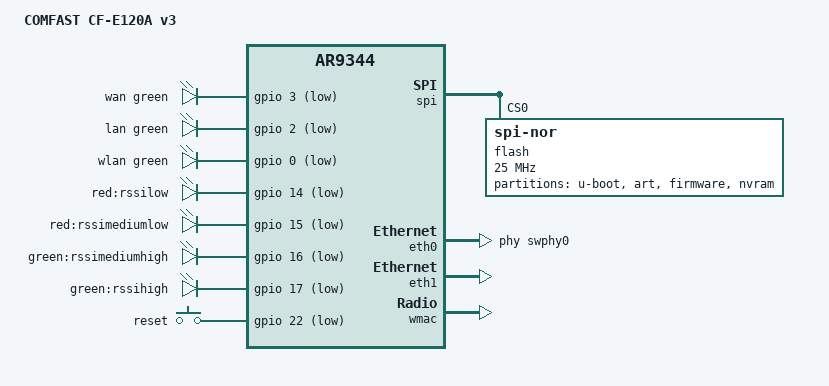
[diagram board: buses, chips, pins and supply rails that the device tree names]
// SPDX-License-Identifier: GPL-2.0-or-later OR MIT

#include "ar9344.dtsi"

#include <dt-bindings/gpio/gpio.h>
#include <dt-bindings/input/input.h>
#include <dt-bindings/leds/common.h>

/ {
	compatible = "comfast,cf-e120a-v3", "qca,ar9344";
	model = "COMFAST CF-E120A v3";

	aliases {
		led-boot = &led_rssihigh;
		led-failsafe = &led_rssihigh;
		led-upgrade = &led_rssihigh;
		label-mac-device = &eth0;
	};

	leds {
		compatible = "gpio-leds";

		pinctrl-names = "default";
		pinctrl-0 = <&led_rssimediumhigh_pin>;

		wan {
			function = LED_FUNCTION_WAN;
			color = <LED_COLOR_ID_GREEN>;
			gpios = <&gpio 3 GPIO_ACTIVE_LOW>;
		};

		lan {
			function = LED_FUNCTION_LAN;
			color = <LED_COLOR_ID_GREEN>;
			gpios = <&gpio 2 GPIO_ACTIVE_LOW>;
		};

		wlan {
			function = LED_FUNCTION_WLAN;
			color = <LED_COLOR_ID_GREEN>;
			gpios = <&gpio 0 GPIO_ACTIVE_LOW>;
			linux,default-trigger = "phy0tpt";
		};

		rssilow {
			label = "red:rssilow";
			gpios = <&gpio 14 GPIO_ACTIVE_LOW>;
		};

		rssimediumlow {
			label = "red:rssimediumlow";
			gpios = <&gpio 15 GPIO_ACTIVE_LOW>;
		};

		rssimediumhigh {
			label = "green:rssimediumhigh";
			gpios = <&gpio 16 GPIO_ACTIVE_LOW>;
		};

		led_rssihigh: rssihigh {
			label = "green:rssihigh";
			gpios = <&gpio 17 GPIO_ACTIVE_LOW>;
		};
	};

	keys {
		compatible = "gpio-keys";

		reset {
			label = "reset";
			linux,code = <KEY_RESTART>;
			gpios = <&gpio 22 GPIO_ACTIVE_LOW>;
			debounce-interval = <60>;
		};
	};
};

&pinmux {
	led_rssimediumhigh_pin: pinmux_rssimediumhigh_pin {
		pinctrl-single,bits = <0x10 0x0 0xff>;
	};
};

&spi {
	status = "okay";

	flash@0 {
		compatible = "jedec,spi-nor";
		reg = <0>;
		spi-max-frequency = <25000000>;

		partitions {
			compatible = "fixed-partitions";
			#address-cells = <1>;
			#size-cells = <1>;

			partition@0 {
				label = "u-boot";
				reg = <0x000000 0x010000>;
				read-only;
			};

			partition@10000 {
				label = "art";
				reg = <0x010000 0x010000>;
				read-only;

				nvmem-layout {
					compatible = "fixed-layout";
					#address-cells = <1>;
					#size-cells = <1>;

					macaddr_art_0: macaddr@0 {
						reg = <0x0 0x6>;
					};

					macaddr_art_6: macaddr@6 {
						reg = <0x6 0x6>;
					};

					cal_art_1000: calibration@1000 {
						reg = <0x1000 0x440>;
					};
				};
			};

			partition@20000 {
				compatible = "denx,uimage";
				label = "firmware";
				reg = <0x020000 0x7d0000>;
			};

			partition@7f0000 {
				label = "nvram";
				reg = <0x7f0000 0x010000>;
				read-only;
			};
		};
	};
};

&eth0 {
	status = "okay";
	phy-handle = <&swphy0>;
	nvmem-cells = <&macaddr_art_0>;
	nvmem-cell-names = "mac-address";

	gmac-config {
		device = <&gmac>;
		switch-phy-swap = <1>;
	};
};

&eth1 {
	status = "okay";

	nvmem-cells = <&macaddr_art_6>;
	nvmem-cell-names = "mac-address";
};

&wmac {
	status = "okay";

	nvmem-cells = <&cal_art_1000>;
	nvmem-cell-names = "calibration";
};
